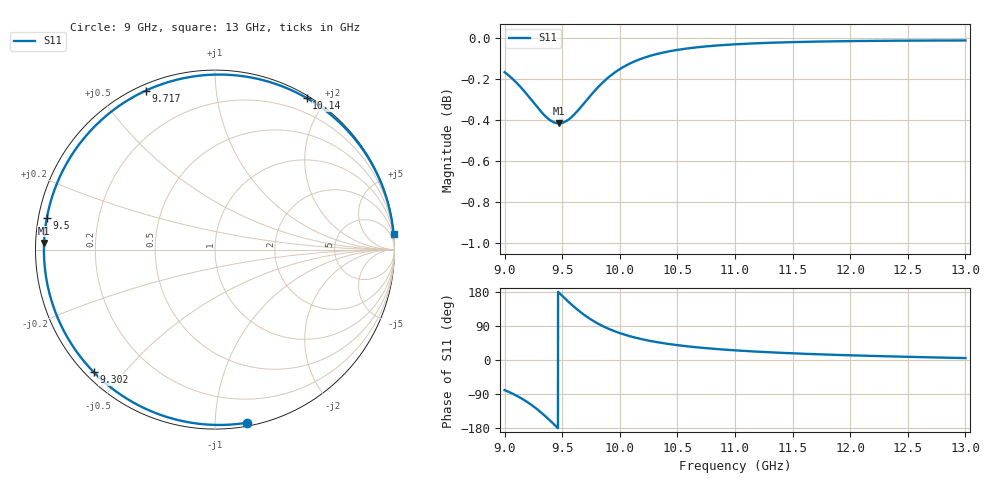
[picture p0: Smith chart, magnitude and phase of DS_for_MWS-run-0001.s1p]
! TOUCHSTONE file generated by CST DESIGN STUDIO
! Date and time: Tue Feb  4 17:55:11 2025
! Project name: C:\Work\MatlabApps\UnitCellOptimizationMatlab\CST\unitcell.cst
! Tree item: Tasks\Sweep1\SPara1\S-Parameters
! Header version: 2024
! Port assignment regex: !\s*Touchstone port\s*([0-9]+)\s*=\s*(CST MWS port|CST DES external port|CST DES block port)\s*(.+)\s* \(\"(.*)\"\)(\s*mode\s*([0-9]+))?.*
! Touchstone port assignment:
! Touchstone port 1 = CST DES external port 1 ("")
# GHz S MA R 50
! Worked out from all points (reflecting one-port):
!   4001 points, 9 GHz to 13 GHz, reference 50 ohm
!   lowest |S11| = -0.4 dB at 9.471 GHz (marker M1), VSWR 41.72, Z = 1.2 + j0.957 ohm
!   phase of S11 starts at -80 deg and turns -275 deg over the sweep
!   S11 on the Smith chart (normalised r, x): 9 GHz: 0.02, -1.20; 9.302 GHz: 0.02, -0.42; 9.5 GHz: 0.02, +0.09; 9.717 GHz: 0.02, +0.66; 10.14 GHz: 0.03, +1.77; 13 GHz: 0, +23
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9  0.9809 -79.5
9.074  0.9769 -89.6
9.125  0.9737 -97.6
9.171  0.9704 -105.9
9.239  0.9653 -119.8
9.302  0.9605 -134.8
9.346  0.9574 -146.3
9.393  0.9549 -159.4
9.433  0.9536 -171.0
9.471  0.9532 177.8
9.5  0.9534 169.3
9.552  0.9551 154.3
9.612  0.9584 138.1
9.664  0.962 125.2
9.717  0.966 113.5
9.773  0.9701 102.5
9.836  0.9743 91.9
9.916  0.9788 80.6
10  0.9826 71.0
10.137  0.987 58.8
10.301  0.9906 48.3
10.5  0.9932 39.2
10.722  0.995 31.9
11  0.9963 25.5
11.5  0.9975 17.6
12  0.9981 12.4
12.5  0.9983 8.4
13  0.9984 5.0
